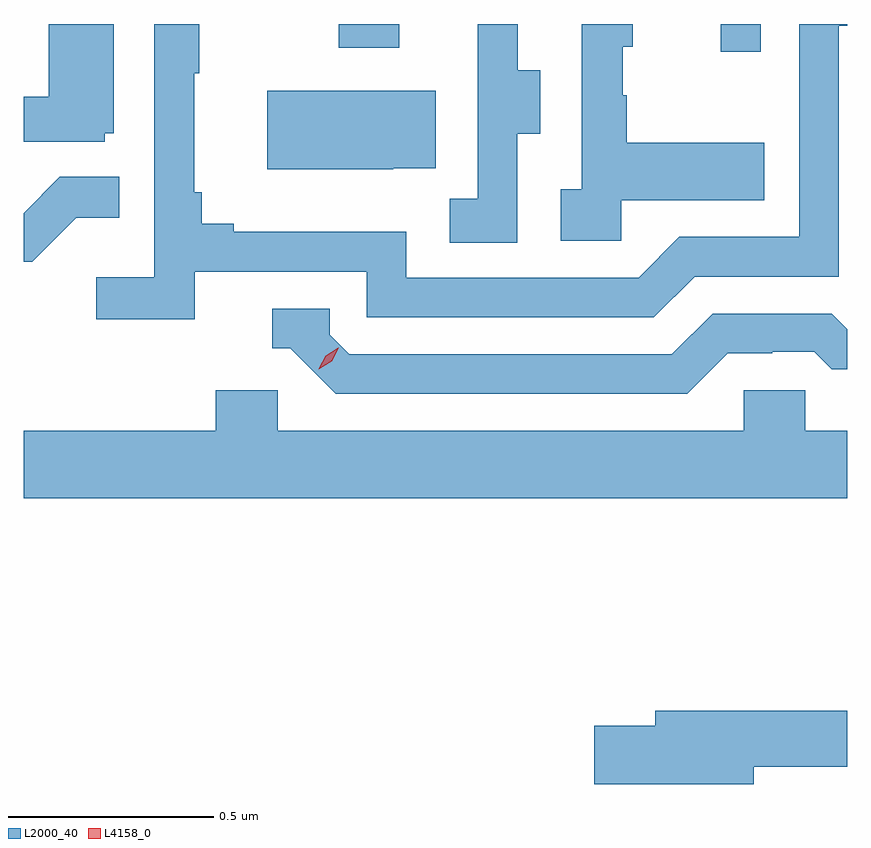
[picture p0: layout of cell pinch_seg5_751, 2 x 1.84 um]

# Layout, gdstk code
import gdstk
lib = gdstk.Library(unit=1e-6, precision=1e-09)
def R(c, l, rs):  # rectangles x0, y0, x1, y1
    for r in rs: c.add(gdstk.rectangle(r[:2], r[2:], *l))
def P(c, l, *ps):  # polygons
    for p in ps: c.add(gdstk.Polygon(p, *l))
L2000_40 = (2000, 40)
L4158_0 = (4158, 0)

pinch_seg5_751 = lib.new_cell('pinch_seg5_751')
R(pinch_seg5_751, L2000_40, [(867.164,912.456,867.261,912.523), (866.236,912.465,866.383,912.523)])
P(pinch_seg5_751, L2000_40, [(865.668,912.258),(865.69,912.258),(865.69,912.523),(865.532,912.523),(865.532,912.346),(865.471,912.346),(865.471,912.237),(865.668,912.237)],
  [(866.922,912.095),(867.269,912.095),(867.269,912.235),(866.935,912.235),(866.935,912.35),(866.925,912.35),(866.925,912.468),(866.95,912.468),(866.95,912.523),(866.826,912.523),(866.826,912.122),(866.775,912.122),(866.775,911.997),(866.922,911.997)],
  [(865.886,911.922),(866.304,911.922),(866.304,911.811),(867.001,911.811),(867.1,911.91),(867.45,911.91),(867.45,912.519),(867.471,912.519),(867.471,912.523),(867.354,912.523),(867.354,912.006),(867.063,912.006),(866.964,911.907),(866.4,911.907),(866.4,912.019),(865.981,912.019),(865.981,912.038),(865.904,912.038),(865.904,912.115),(865.885,912.115),(865.885,912.403),(865.897,912.403),(865.897,912.523),(865.788,912.523),(865.788,911.908),(865.647,911.908),(865.647,911.806),(865.886,911.806)],
  [(866.67,912.256),(866.725,912.256),(866.725,912.411),(866.671,912.411),(866.671,912.523),(866.573,912.523),(866.573,912.399),(866.574,912.399),(866.574,912.099),(866.505,912.099),(866.505,911.992),(866.67,911.992)],
  [(866.369,912.173),(866.471,912.173),(866.471,912.361),(866.063,912.361),(866.063,912.17),(866.369,912.17)],
  [(865.599,912.053),(865.703,912.053),(865.703,912.152),(865.559,912.152),(865.471,912.064),(865.471,911.946),(865.492,911.946)],
  [(867.181,911.724),(867.288,911.724),(867.288,911.727),(867.391,911.727),(867.433,911.685),(867.471,911.685),(867.471,911.782),(867.433,911.82),(867.144,911.82),(867.045,911.721),(866.262,911.721),(866.214,911.769),(866.214,911.832),(866.075,911.832),(866.075,911.736),(866.118,911.736),(866.229,911.625),(867.082,911.625)],
  [(865.937,911.634),(865.937,911.536),(865.471,911.536),(865.471,911.372),(867.471,911.372),(867.471,911.536),(867.369,911.536),(867.369,911.634),(867.219,911.634),(867.219,911.536),(866.088,911.536),(866.088,911.634)],
  [(867.244,910.72),(867.471,910.72),(867.471,910.856),(867.005,910.856),(867.005,910.82),(866.856,910.82),(866.856,910.678),(867.244,910.678)])
P(pinch_seg5_751, L4158_0, [(866.188,911.685),(866.188,911.686),(866.205,911.718),(866.235,911.737),(866.236,911.737),(866.236,911.737),(866.219,911.704),(866.188,911.685)])

lib.write_gds('pinch_seg5_751.gds')
